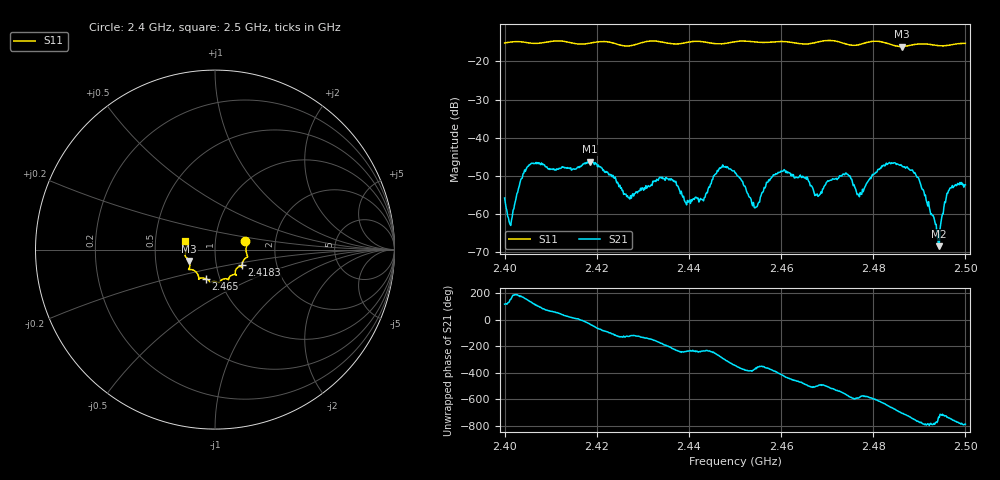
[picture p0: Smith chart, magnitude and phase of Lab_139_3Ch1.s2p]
# Hz S RI R 50
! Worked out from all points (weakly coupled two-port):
!   601 points, 2.4 GHz to 2.5 GHz, reference 50 ohm
!   highest |S21| = -46.34 dB at 2.4185 GHz (marker M1); lowest = -68.5 dB at 2.4942 GHz (marker M2)
!   lowest |S11| = -16.1 dB at 2.4862 GHz (marker M3), VSWR 1.37, Z = 37.2 - j4.83 ohm
!   |S11| at or under -10 dB: start of sweep to end of sweep
!   S12 and S22 are empty: the file has one direction only
!   S11 on the Smith chart (normalised r, x): 2.4 GHz: 1.40, +0.14; 2.4183 GHz: 1.33, -0.24; 2.465 GHz: 0.86, -0.29; 2.5 GHz: 0.71, +0.07
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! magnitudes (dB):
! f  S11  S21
! 2.4 GHz  -15.1  -55.9
! 2.4013 GHz  -14.9  -63.1
! 2.4058 GHz  -15.2  -46.7
! 2.4167 GHz  -15.4  -47.4
! 2.4183 GHz  -15.2  -46.7
! 2.4185 GHz  -15.2  -46.3
! 2.427 GHz  -15.9  -55.8
! 2.4333 GHz  -14.7  -51.2
! 2.4398 GHz  -14.9  -57.0
! 2.45 GHz  -14.8  -49.3
! 2.4543 GHz  -14.9  -58.5
! 2.4588 GHz  -14.8  -49.5
! 2.465 GHz  -15.4  -50.5
! 2.4667 GHz  -15.2  -52.8
! 2.474 GHz  -15.4  -49.3
! 2.477 GHz  -15.6  -55.5
! 2.4833 GHz  -15.3  -46.7
! 2.4862 GHz  -16.1  -47.3
! 2.4895 GHz  -15.5  -50.4
! 2.4942 GHz  -15.8  -68.5
! 2.4965 GHz  -15.7  -53.7
! 2.5 GHz  -15.2  -52.4
